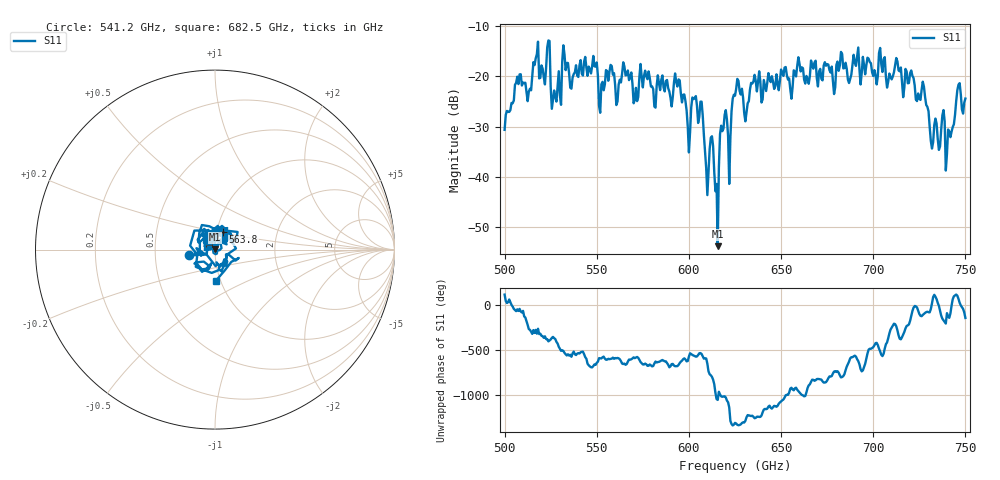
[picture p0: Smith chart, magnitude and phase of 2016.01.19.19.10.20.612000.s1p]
!Created with skrf (http://scikit-rf.org).
# GHz S RI R 50.0
!freq ReS11 ImS11
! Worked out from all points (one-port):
!   401 points, 500 GHz to 750 GHz, reference 50 ohm
!   lowest |S11| = -53.7 dB at 615.6 GHz (marker M1), VSWR 1.00, Z = 50.2 + j0.0714 ohm
!   |S11| at or under -10 dB: start of sweep to end of sweep
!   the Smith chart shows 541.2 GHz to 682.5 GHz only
!   S11 on the Smith chart (normalised r, x): 541.2 GHz: 0.75, -0.04; 563.8 GHz: 1.07, +0.21; 682.5 GHz: 0.95, -0.34
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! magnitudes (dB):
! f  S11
! 500 GHz  -30.6
! 507.5 GHz  -21.5
! 513.1 GHz  -23.0
! 516.9 GHz  -16.4
! 523.8 GHz  -12.9
! 526.9 GHz  -22.8
! 531.2 GHz  -17.1
! 541.2 GHz  -16.8
! 562.5 GHz  -20.6
! 563.8 GHz  -19.4
! 571.2 GHz  -22.3
! 593.8 GHz  -22.0
! 599.4 GHz  -30.0
! 602.5 GHz  -24.5
! 606.9 GHz  -25.0
! 609.4 GHz  -38.2
! 612.5 GHz  -31.9
! 615.6 GHz  -53.7
! 618.1 GHz  -30.9
! 621.9 GHz  -41.3
! 625 GHz  -23.8
! 656.2 GHz  -22.1
! 682.5 GHz  -15.1
! 687.5 GHz  -20.4
! 718.8 GHz  -21.4
! 740.6 GHz  -30.5
! 746.2 GHz  -21.6
! 750 GHz  -24.4
